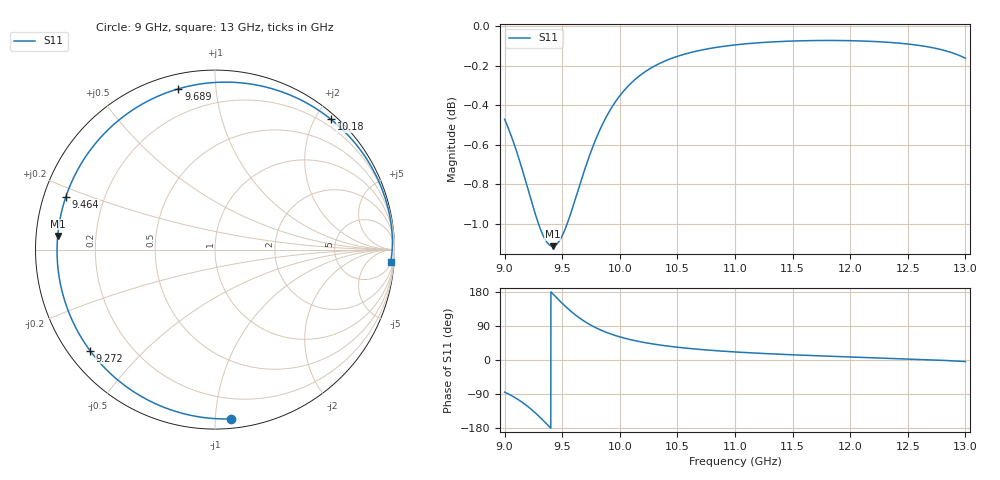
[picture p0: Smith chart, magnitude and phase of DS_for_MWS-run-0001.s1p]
! TOUCHSTONE file generated by CST DESIGN STUDIO
! Date and time: Tue Feb  4 18:42:31 2025
! Project name: C:\Work\MatlabApps\UnitCellOptimizationMatlab\CST\unitcell.cst
! Tree item: Tasks\Sweep1\SPara1\S-Parameters
! Header version: 2024
! Port assignment regex: !\s*Touchstone port\s*([0-9]+)\s*=\s*(CST MWS port|CST DES external port|CST DES block port)\s*(.+)\s* \(\"(.*)\"\)(\s*mode\s*([0-9]+))?.*
! Touchstone port assignment:
! Touchstone port 1 = CST DES external port 1 ("")
# GHz S MA R 50
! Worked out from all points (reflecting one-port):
!   4001 points, 9 GHz to 13 GHz, reference 50 ohm
!   lowest |S11| = -1.1 dB at 9.417 GHz (marker M1), VSWR 15.64, Z = 3.2 + j2.16 ohm
!   phase of S11 starts at -85 deg and turns -279 deg over the sweep
!   S11 on the Smith chart (normalised r, x): 9 GHz: 0.06, -1.10; 9.272 GHz: 0.06, -0.35; 9.464 GHz: 0.06, +0.17; 9.689 GHz: 0.07, +0.80; 10.18 GHz: 0.09, +2.23; 13 GHz: 7, -26
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9  0.9472 -84.7
9.081  0.934 -97.6
9.149  0.9208 -110.8
9.211  0.9077 -125.0
9.272  0.8954 -141.0
9.312  0.8885 -152.5
9.348  0.8837 -163.4
9.383  0.8808 -174.3
9.417  0.8798 175.0
9.464  0.8816 160.4
9.5  0.8852 149.6
9.546  0.8919 136.5
9.592  0.9001 124.4
9.639  0.9092 113.3
9.689  0.9188 102.8
9.758  0.9309 90.4
9.84  0.9432 78.3
9.917  0.9524 69.2
10  0.9603 61.1
10.175  0.9717 48.3
10.323  0.9778 40.6
10.5  0.9826 33.7
10.723  0.9863 27.2
11  0.9891 21.3
11.5  0.9913 13.7
12  0.9915 8.1
12.5  0.9896 2.8
13  0.9815 -4.1
